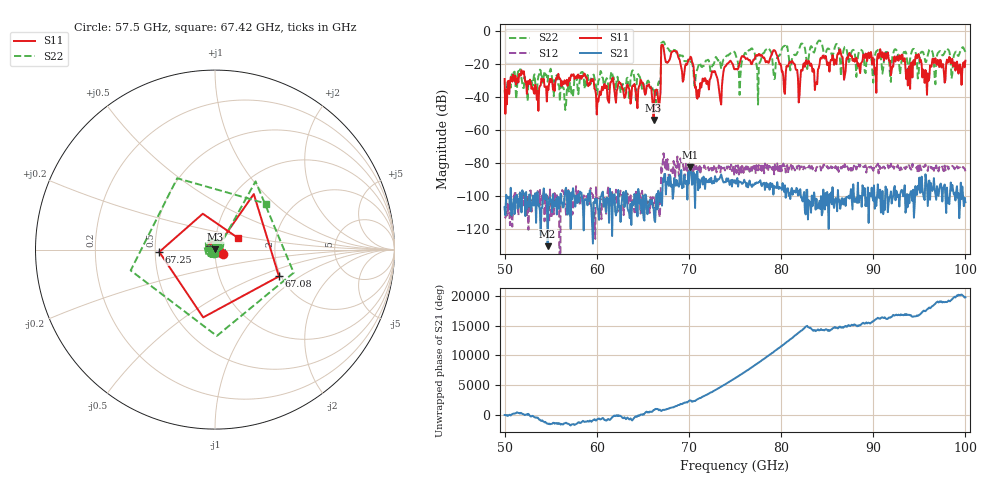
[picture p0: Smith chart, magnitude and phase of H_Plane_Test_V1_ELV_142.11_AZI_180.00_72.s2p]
! 11/27/2026 8:50:08 AM
! C:\ANRITSUVNA\TEMP\TEMP.S2P
! CHANNEL.1
! TR.MEASUREMENT
! RAW.DATA
# HZ S RI R 50.0
! FREQ.HZ  S11RE  S11IM  S21RE  S21IM  S12RE  S12IM  S22RE  S22IM
!; PortSelection: Port_12
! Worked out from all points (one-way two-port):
!   601 points, 50 GHz to 100 GHz, reference 50 ohm
!   highest |S21| = -82.69 dB at 70.17 GHz (marker M1); lowest = -130.5 dB at 54.67 GHz (marker M2)
!   lowest |S11| = -53.8 dB at 66.17 GHz (marker M3), VSWR 1.00, Z = 50.1 + j0.146 ohm
!   |S11| at or under -10 dB: start of sweep to 67 GHz; 67.24 GHz to end of sweep
!   |S22| runs from -47.8 to -5.6 dB; largest |S21 - S12| = 0.00017
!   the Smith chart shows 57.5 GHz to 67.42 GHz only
!   S11 on the Smith chart (normalised r, x): 57.5 GHz: 1.09, -0.05; 67.08 GHz: 1.95, -0.68; 67.25 GHz: 0.53, -0.02; 67.42 GHz: 1.29, +0.17
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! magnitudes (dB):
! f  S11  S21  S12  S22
! 50 GHz  -29.0  -106.7  -106.7  -35.8
! 54.67 GHz  -33.5  -130.5  -100.4  -30.6
! 57.5 GHz  -26.1  -99.0  -101.8  -34.5
! 58.42 GHz  -27.1  -101.3  -100.1  -24.7
! 60.17 GHz  -42.7  -108.7  -102.2  -30.2
! 66.17 GHz  -53.8  -107.3  -107.4  -34.0
! 66.67 GHz  -41.8  -96.8  -99.6  -31.6
! 67.08 GHz  -8.3  -105.8  -85.3  -6.8
! 67.25 GHz  -10.2  -91.5  -74.0  -6.3
! 67.42 GHz  -16.8  -86.6  -83.5  -8.4
! 70.17 GHz  -15.5  -82.7  -82.8  -18.5
! 70.92 GHz  -41.0  -85.0  -83.8  -23.0
! 75 GHz  -23.1  -90.4  -83.2  -13.0
! 78.58 GHz  -19.0  -92.8  -84.8  -10.1
! 79.25 GHz  -11.4  -94.0  -86.8  -29.0
! 80.25 GHz  -27.9  -95.6  -80.3  -9.3
! 83.42 GHz  -24.6  -106.1  -83.9  -10.9
! 91.67 GHz  -16.6  -104.3  -83.2  -15.3
! 93.75 GHz  -32.9  -106.7  -83.1  -21.5
! 94.83 GHz  -14.9  -93.9  -86.3  -28.7
! 95.83 GHz  -38.5  -93.1  -83.0  -16.6
! 100 GHz  -17.9  -103.8  -85.0  -12.6
